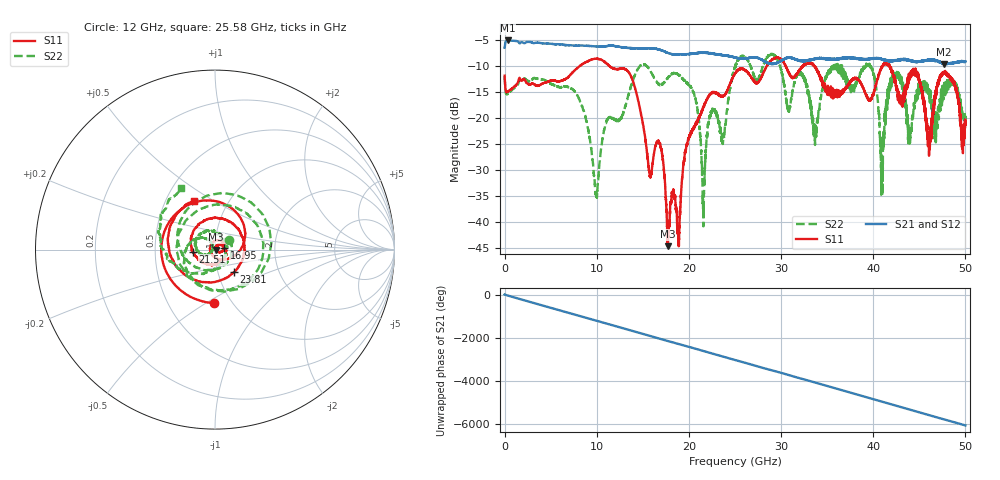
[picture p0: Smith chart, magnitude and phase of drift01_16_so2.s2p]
!Created with skrf (http://scikit-rf.org).
# Hz S RI R 50.0
!freq ReS11 ImS11 ReS21 ImS21 ReS12 ImS12 ReS22 ImS22
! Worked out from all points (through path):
!   10001 points, 300 kHz to 50 GHz, reference 50 ohm
!   highest |S21| = -5.05 dB at 325.3 MHz (marker M1); lowest = -9.7 dB at 47.71 GHz (marker M2)
!   group delay of S21, straight-line fit = 336 ps
!   lowest |S11| = -44.7 dB at 17.7 GHz (marker M3), VSWR 1.01, Z = 50.6 - j0.11 ohm
!   |S11| at or under -10 dB: start of sweep to 8.139 GHz; 11.4 GHz to 28.44 GHz (17.04 GHz wide, 85.6 % of centre); 41.79 GHz to end of sweep (the widest 3 of 13)
!   |S22| runs from -40.9 to -7.6 dB; largest |S21 - S12| = 0.013
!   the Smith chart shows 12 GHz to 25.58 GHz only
!   S11 on the Smith chart (normalised r, x): 12 GHz: 0.83, -0.54; 16.95 GHz: 1.11, +0.02; 21.51 GHz: 0.78, -0.02; 23.81 GHz: 1.20, -0.31; 25.58 GHz: 0.69, +0.41
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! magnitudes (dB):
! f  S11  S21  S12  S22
! 300 kHz  -11.8  -6.5  -6.5  -11.9
! 325.3 MHz  -15.0  -5.1  -5.1  -15.4
! 8.335 GHz  -9.7  -6.0  -6.0  -17.5
! 9.935 GHz  -8.6  -6.2  -6.2  -34.4
! 12 GHz  -10.5  -6.1  -6.1  -20.4
! 15.77 GHz  -31.2  -6.6  -6.5  -10.8
! 16.67 GHz  -24.4  -6.8  -6.8  -13.4
! 16.95 GHz  -25.7  -6.9  -6.9  -13.5
! 17.7 GHz  -44.7  -7.4  -7.4  -12.3
! 20.52 GHz  -21.8  -7.6  -7.6  -15.1
! 21.51 GHz  -18.2  -7.4  -7.4  -36.5
! 22.45 GHz  -15.2  -7.5  -7.5  -19.0
! 23.81 GHz  -15.7  -7.9  -7.9  -23.5
! 25 GHz  -11.4  -8.3  -8.3  -10.2
! 25.58 GHz  -10.5  -8.5  -8.6  -8.2
! 33.34 GHz  -9.5  -8.7  -8.7  -19.4
! 39.48 GHz  -16.3  -8.6  -8.7  -9.9
! 40.95 GHz  -10.2  -8.7  -8.6  -29.4
! 41.67 GHz  -9.8  -8.9  -9.0  -14.4
! 46.06 GHz  -25.1  -8.8  -8.7  -14.8
! 47.71 GHz  -11.3  -9.7  -9.6  -13.3
! 50 GHz  -21.2  -9.1  -9.1  -20.1
